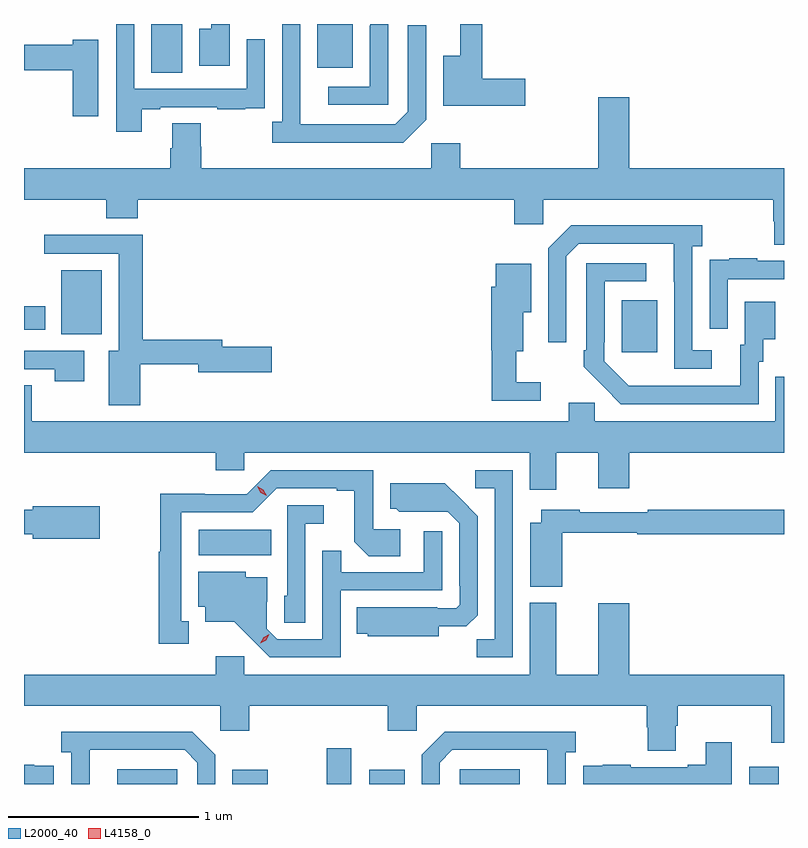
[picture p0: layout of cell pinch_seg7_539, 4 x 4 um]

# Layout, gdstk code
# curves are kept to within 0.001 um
import gdstk
lib = gdstk.Library(unit=1e-6, precision=1e-09)
def R(c, l, rs):  # rectangles x0, y0, x1, y1
    for r in rs: c.add(gdstk.rectangle(r[:2], r[2:], *l))
def P(c, l, *ps):  # polygons
    for p in ps: c.add(gdstk.Polygon(p, *l))
L2000_40 = (2000, 40)
L4158_0 = (4158, 0)

pinch_seg7_539 = lib.new_cell('pinch_seg7_539')
R(pinch_seg7_539, L2000_40, [(138.501,1057.48,138.816,1057.557), (139.106,1057.48,139.294,1057.555), (139.603,1057.48,139.732,1057.669), (139.826,1057.48,140.014,1057.555), (140.304,1057.48,140.62,1057.557), (141.827,1057.48,141.982,1057.57), (138.93,1058.684,139.31,1058.818), (141.155,1059.753,141.343,1060.027), (138.206,1059.848,138.418,1060.183), (138.01,1059.872,138.121,1059.994), (138.68,1061.224,138.844,1061.48), (139.553,1061.249,139.741,1061.48)])
P(pinch_seg7_539, L2000_40, [(138.631,1061.031),(138.727,1061.031),(138.727,1061.043),(139.027,1061.043),(139.027,1061.031),(139.175,1061.031),(139.175,1061.037),(139.277,1061.037),(139.277,1061.146),(139.278,1061.146),(139.278,1061.401),(139.182,1061.401),(139.182,1061.139),(138.591,1061.139),(138.591,1061.48),(138.475,1061.48),(138.475,1061.479),(138.495,1061.479),(138.495,1060.914),(138.631,1060.914)],
  [(140.127,1060.977),(140.127,1061.473),(140.031,1061.473),(140.031,1061.019),(139.965,1060.953),(139.465,1060.953),(139.464,1061.48),(139.368,1061.48),(139.368,1060.966),(139.317,1060.966),(139.317,1060.856),(140.006,1060.856)],
  [(139.926,1061.48),(139.833,1061.48),(139.833,1061.471),(139.83,1061.471),(139.83,1061.151),(139.611,1061.151),(139.611,1061.055),(139.926,1061.055)],
  [(139.093,1061.48),(138.995,1061.48),(138.995,1061.455),(138.932,1061.455),(138.932,1061.259),(139.093,1061.259)],
  [(140.647,1061.192),(140.423,1061.192),(140.423,1061.48),(140.306,1061.48),(140.306,1061.314),(140.216,1061.314),(140.216,1061.05),(140.647,1061.05)],
  [(138.4,1061.396),(138.266,1061.396),(138.266,1061.372),(138.01,1061.372),(138.01,1061.236),(138.266,1061.236),(138.266,1060.995),(138.4,1060.995)],
  [(142.01,1060.72),(141.196,1060.72),(141.196,1061.095),(141.032,1061.095),(141.032,1060.72),(140.306,1060.72),(140.306,1060.852),(140.154,1060.852),(140.154,1060.72),(138.944,1060.72),(138.944,1060.833),(138.939,1060.833),(138.939,1060.958),(138.791,1060.958),(138.791,1060.826),(138.779,1060.826),(138.779,1060.72),(138.01,1060.72),(138.01,1060.556),(138.443,1060.556),(138.443,1060.457),(138.608,1060.457),(138.608,1060.556),(140.591,1060.556),(140.591,1060.425),(140.742,1060.425),(140.742,1060.556),(141.953,1060.556),(141.953,1060.443),(141.958,1060.443),(141.958,1060.318),(142.01,1060.318)],
  [(141.631,1059.762),(141.528,1059.762),(141.528,1060.31),(141.58,1060.31),(141.58,1060.42),(140.89,1060.42),(140.769,1060.299),(140.769,1059.804),(140.865,1059.804),(140.865,1060.257),(140.931,1060.323),(141.431,1060.323),(141.432,1059.666),(141.631,1059.666)],
  [(138.622,1059.69),(138.926,1059.69),(138.926,1059.647),(139.315,1059.647),(139.315,1059.782),(139.054,1059.782),(139.054,1059.818),(138.635,1059.818),(138.635,1060.37),(138.117,1060.37),(138.117,1060.272),(138.509,1060.272),(138.509,1059.76),(138.455,1059.76),(138.455,1059.474),(138.622,1059.474)],
  [(141.714,1060.137),(142.01,1060.137),(142.01,1060.233),(141.869,1060.233),(141.869,1060.246),(141.721,1060.246),(141.721,1060.239),(141.619,1060.239),(141.619,1060.13),(141.618,1060.13),(141.618,1059.876),(141.714,1059.876)],
  [(141.876,1059.702),(141.901,1059.702),(141.901,1059.821),(141.964,1059.821),(141.964,1060.018),(141.803,1060.018),(141.803,1059.792),(141.779,1059.792),(141.779,1059.576),(141.192,1059.577),(141.063,1059.705),(141.063,1059.805),(141.066,1059.805),(141.066,1060.125),(141.286,1060.125),(141.286,1060.221),(140.97,1060.221),(140.97,1059.763),(140.955,1059.763),(140.955,1059.675),(141.152,1059.48),(141.876,1059.48)],
  [(140.731,1059.595),(140.602,1059.595),(140.602,1059.758),(140.638,1059.758),(140.638,1059.962),(140.68,1059.962),(140.68,1060.219),(140.492,1060.219),(140.492,1060.098),(140.468,1060.098),(140.468,1059.762),(140.473,1059.762),(140.473,1059.498),(140.731,1059.498)],
  [(138.328,1059.759),(138.01,1059.759),(138.01,1059.663),(138.172,1059.663),(138.172,1059.6),(138.328,1059.6)],
  [(138.051,1059.578),(138.01,1059.578),(138.01,1059.224),(139.019,1059.224),(139.019,1059.131),(139.17,1059.131),(139.17,1059.224),(140.672,1059.224),(140.672,1059.03),(140.812,1059.03),(140.812,1059.224),(141.032,1059.224),(141.032,1059.036),(141.196,1059.036),(141.196,1059.224),(142.01,1059.224),(142.01,1059.624),(141.965,1059.624),(141.965,1059.388),(141.015,1059.388),(141.015,1059.486),(140.876,1059.486),(140.876,1059.388),(138.051,1059.388)],
  [(138.877,1058.337),(138.838,1058.337),(138.838,1058.91),(139.215,1058.91),(139.341,1059.036),(139.655,1059.036),(139.655,1059.024),(139.749,1059.024),(139.749,1058.756),(139.825,1058.68),(139.99,1058.68),(139.99,1058.82),(139.848,1058.82),(139.848,1059.132),(139.308,1059.132),(139.182,1059.006),(138.96,1059.006),(138.96,1059.008),(138.727,1059.008),(138.727,1058.703),(138.72,1058.703),(138.72,1058.217),(138.877,1058.217)],
  [(140.583,1059.132),(140.385,1059.132),(140.385,1059.036),(140.487,1059.036),(140.487,1058.243),(140.392,1058.243),(140.392,1058.148),(140.583,1058.148)],
  [(140.194,1058.309),(140.338,1058.309),(140.397,1058.368),(140.397,1058.89),(140.225,1059.064),(139.937,1059.064),(139.937,1058.928),(139.968,1058.928),(139.984,1058.912),(140.241,1058.913),(140.301,1058.853),(140.301,1058.524),(140.304,1058.524),(140.304,1058.424),(140.286,1058.406),(140.186,1058.406),(140.186,1058.41),(139.762,1058.41),(139.762,1058.27),(139.818,1058.27),(139.818,1058.258),(140.194,1058.258)],
  [(139.491,1058.849),(139.588,1058.849),(139.588,1058.946),(139.395,1058.946),(139.395,1058.472),(139.38,1058.472),(139.38,1058.329),(139.491,1058.329)],
  [(138.409,1058.941),(138.056,1058.941),(138.056,1058.923),(138.01,1058.923),(138.01,1058.794),(138.056,1058.794),(138.056,1058.771),(138.409,1058.771)],
  [(140.842,1058.802),(141.238,1058.802),(141.238,1058.794),(142.01,1058.794),(142.01,1058.923),(141.292,1058.923),(141.292,1058.91),(140.936,1058.91),(140.936,1058.923),(140.732,1058.923),(140.732,1058.854),(140.675,1058.854),(140.675,1058.519),(140.842,1058.519)],
  [(139.677,1058.499),(140.211,1058.499),(140.211,1058.809),(140.115,1058.809),(140.115,1058.595),(139.679,1058.595),(139.679,1058.708),(139.581,1058.708),(139.581,1058.241),(139.344,1058.241),(139.287,1058.298),(139.287,1058.44),(139.291,1058.44),(139.291,1058.569),(139.176,1058.569),(139.176,1058.596),(138.926,1058.596),(138.926,1058.412),(138.965,1058.412),(138.965,1058.333),(139.117,1058.333),(139.304,1058.148),(139.677,1058.148)],
  [(141.439,1057.786),(141.452,1057.786),(141.452,1057.892),(141.944,1057.892),(141.944,1057.698),(142.01,1057.698),(142.01,1058.056),(141.196,1058.056),(141.196,1058.431),(141.032,1058.431),(141.032,1058.056),(140.812,1058.056),(140.812,1058.434),(140.672,1058.434),(140.672,1058.056),(139.17,1058.056),(139.17,1058.152),(139.019,1058.152),(139.019,1058.056),(138.01,1058.056),(138.01,1057.892),(139.044,1057.892),(139.044,1057.761),(139.196,1057.761),(139.196,1057.892),(139.925,1057.892),(139.925,1057.761),(140.076,1057.761),(140.076,1057.892),(141.287,1057.892),(141.287,1057.779),(141.292,1057.779),(141.292,1057.654),(141.439,1057.654)],
  [(138.355,1057.659),(138.855,1057.659),(138.921,1057.593),(138.921,1057.48),(139.017,1057.48),(139.017,1057.635),(138.896,1057.756),(138.207,1057.756),(138.207,1057.646),(138.258,1057.646),(138.258,1057.48),(138.355,1057.48)],
  [(140.199,1057.593),(140.265,1057.659),(140.765,1057.659),(140.765,1057.48),(140.862,1057.48),(140.862,1057.646),(140.914,1057.646),(140.914,1057.756),(140.224,1057.756),(140.103,1057.635),(140.103,1057.48),(140.199,1057.48)],
  [(141.735,1057.699),(141.599,1057.699),(141.599,1057.582),(141.503,1057.582),(141.503,1057.569),(141.203,1057.569),(141.203,1057.582),(141.055,1057.582),(141.055,1057.575),(140.953,1057.575),(140.953,1057.48),(141.735,1057.48)],
  [(138.167,1057.575),(138.065,1057.575),(138.065,1057.582),(138.01,1057.582),(138.01,1057.48),(138.167,1057.48)])
P(pinch_seg7_539, L4158_0, [(139.254,1058.222),(139.254,1058.222),(139.271,1058.252),(139.301,1058.267),(139.301,1058.267),(139.301,1058.267),(139.285,1058.237),(139.254,1058.222)],
  [(139.287,1058.996),(139.255,1059.014),(139.238,1059.047),(139.238,1059.047),(139.238,1059.047),(139.27,1059.028),(139.287,1058.996),(139.287,1058.996)])

lib.write_gds('pinch_seg7_539.gds')
